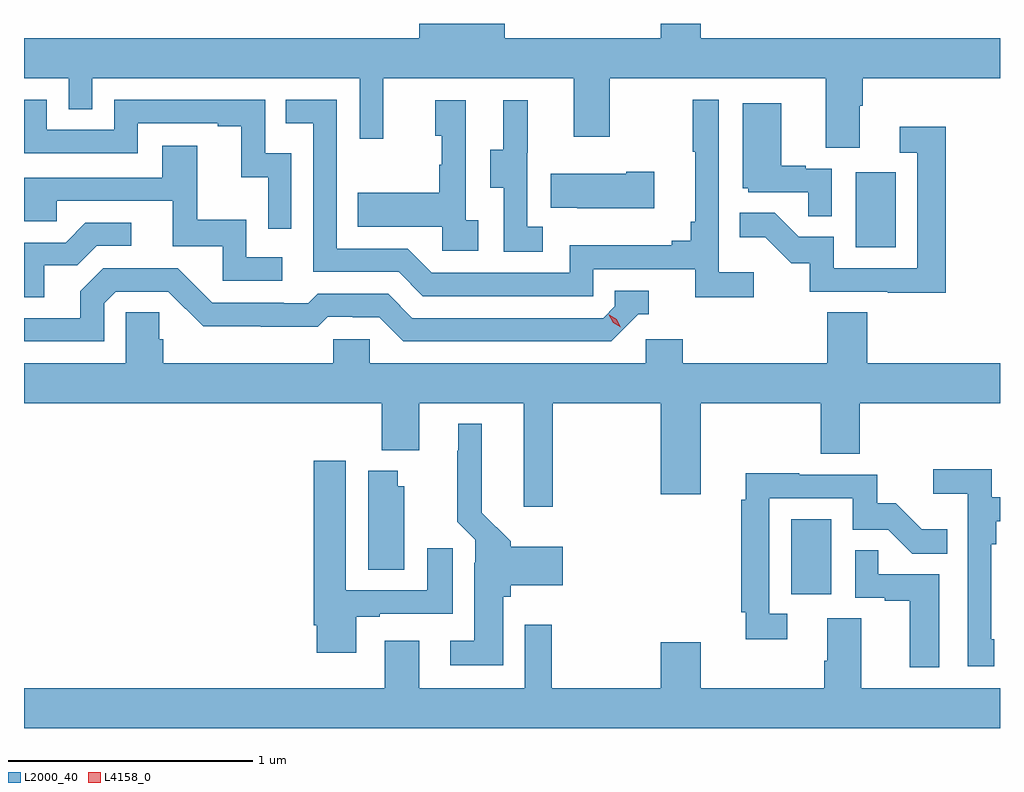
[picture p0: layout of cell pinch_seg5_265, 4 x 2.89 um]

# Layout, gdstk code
import gdstk
lib = gdstk.Library(unit=1e-6, precision=1e-09)
def R(c, l, rs):  # rectangles x0, y0, x1, y1
    for r in rs: c.add(gdstk.rectangle(r[:2], r[2:], *l))
def P(c, l, *ps):  # polygons
    for p in ps: c.add(gdstk.Polygon(p, *l))
L2000_40 = (2000, 40)
L4158_0 = (4158, 0)

pinch_seg5_265 = lib.new_cell('pinch_seg5_265')
R(pinch_seg5_265, L2000_40, [(896.81,902.598,896.974,902.905), (897.074,904.02,897.238,904.327)])
P(pinch_seg5_265, L2000_40, [(896.276,904.935),(896.276,904.876),(895.636,904.876),(895.636,904.935),(895.286,904.935),(895.286,904.876),(893.666,904.876),(893.666,904.712),(893.85,904.712),(893.85,904.585),(893.946,904.585),(893.946,904.712),(895.041,904.712),(895.041,904.464),(895.139,904.464),(895.139,904.712),(895.919,904.712),(895.919,904.473),(896.067,904.473),(896.067,904.712),(896.951,904.712),(896.951,904.426),(897.091,904.426),(897.091,904.6),(897.104,904.6),(897.104,904.712),(897.666,904.712),(897.666,904.876),(896.44,904.876),(896.44,904.935)],
  [(896.656,903.916),(896.514,903.916),(896.514,904.624),(896.406,904.624),(896.406,904.411),(896.417,904.411),(896.417,904.123),(896.398,904.123),(896.398,904.046),(896.321,904.046),(896.321,904.027),(895.902,904.027),(895.902,903.915),(895.338,903.915),(895.239,904.014),(894.948,904.014),(894.948,904.623),(894.739,904.623),(894.739,904.527),(894.852,904.527),(894.852,903.918),(895.202,903.918),(895.301,903.819),(895.998,903.819),(895.998,903.93),(896.417,903.93),(896.417,903.814),(896.656,903.814)],
  [(894.762,904.404),(894.654,904.404),(894.654,904.623),(894.036,904.623),(894.036,904.5),(893.76,904.5),(893.76,904.623),(893.666,904.623),(893.666,904.404),(894.132,904.404),(894.132,904.527),(894.461,904.527),(894.461,904.515),(894.557,904.515),(894.557,904.307),(894.666,904.307),(894.666,904.095),(894.762,904.095)],
  [(895.528,904.13),(895.476,904.13),(895.476,904.621),(895.352,904.621),(895.352,904.476),(895.378,904.476),(895.378,904.358),(895.368,904.358),(895.368,904.243),(895.033,904.243),(895.033,904.103),(895.38,904.103),(895.38,904.005),(895.528,904.005)],
  [(895.792,904.103),(895.728,904.103),(895.728,904.407),(895.73,904.407),(895.73,904.621),(895.631,904.621),(895.631,904.419),(895.577,904.419),(895.577,904.264),(895.632,904.264),(895.632,904),(895.792,904)],
  [(896.976,904.341),(896.87,904.341),(896.87,904.354),(896.77,904.354),(896.77,904.609),(896.612,904.609),(896.612,904.26),(896.634,904.26),(896.634,904.245),(896.881,904.245),(896.881,904.147),(896.976,904.147)],
  [(897.443,904.513),(897.255,904.513),(897.255,904.407),(897.327,904.407),(897.327,903.933),(896.985,903.933),(896.985,904.062),(896.841,904.062),(896.743,904.16),(896.599,904.16),(896.599,904.061),(896.703,904.061),(896.81,903.954),(896.887,903.954),(896.887,903.837),(897.205,903.837),(897.205,903.832),(897.443,903.832)],
  [(894.724,903.978),(894.576,903.978),(894.576,904.132),(894.377,904.132),(894.377,904.435),(894.233,904.435),(894.233,904.305),(893.666,904.305),(893.666,904.125),(893.801,904.125),(893.801,904.209),(894.275,904.209),(894.275,904.023),(894.48,904.023),(894.48,903.882),(894.724,903.882)],
  [(896.248,904.329),(896.135,904.329),(896.135,904.321),(895.825,904.321),(895.825,904.181),(895.933,904.181),(895.933,904.178),(896.248,904.178)],
  [(893.749,903.946),(893.884,903.946),(893.964,904.026),(894.106,904.026),(894.106,904.119),(893.918,904.119),(893.837,904.038),(893.666,904.038),(893.666,903.814),(893.749,903.814)],
  [(893.994,903.789),(894.042,903.837),(894.258,903.837),(894.4,903.695),(894.636,903.695),(894.636,903.693),(894.869,903.693),(894.911,903.735),(895.014,903.735),(895.014,903.732),(895.121,903.732),(895.22,903.633),(896.073,903.633),(896.184,903.744),(896.227,903.744),(896.227,903.84),(896.088,903.84),(896.088,903.777),(896.04,903.729),(895.257,903.729),(895.158,903.828),(894.869,903.828),(894.83,903.789),(894.731,903.789),(894.731,903.792),(894.438,903.792),(894.297,903.933),(893.991,903.933),(893.897,903.839),(893.897,903.729),(893.666,903.729),(893.666,903.633),(893.994,903.633)],
  [(895.833,903.38),(896.276,903.38),(896.276,903.006),(896.44,903.006),(896.44,903.38),(896.932,903.38),(896.932,903.172),(897.092,903.172),(897.092,903.38),(897.666,903.38),(897.666,903.544),(897.122,903.544),(897.122,903.752),(896.957,903.752),(896.957,903.544),(896.366,903.544),(896.366,903.642),(896.214,903.642),(896.214,903.544),(895.083,903.544),(895.083,903.642),(894.933,903.642),(894.933,903.544),(894.236,903.544),(894.236,903.642),(894.221,903.642),(894.221,903.752),(894.084,903.752),(894.084,903.544),(893.666,903.544),(893.666,903.38),(895.133,903.38),(895.133,903.188),(895.285,903.188),(895.285,903.38),(895.715,903.38),(895.715,902.955),(895.833,902.955)],
  [(895.63,902.586),(895.661,902.586),(895.661,902.633),(895.873,902.633),(895.873,902.791),(895.661,902.791),(895.661,902.814),(895.543,902.932),(895.543,903.295),(895.445,903.295),(895.445,903.185),(895.441,903.185),(895.441,902.894),(895.515,902.82),(895.515,902.726),(895.511,902.726),(895.511,902.407),(895.413,902.407),(895.413,902.306),(895.63,902.306)],
  [(895.027,902.505),(895.123,902.505),(895.123,902.517),(895.423,902.517),(895.423,902.785),(895.319,902.785),(895.319,902.613),(894.985,902.613),(894.985,903.145),(894.854,903.145),(894.854,902.47),(894.866,902.47),(894.866,902.358),(895.027,902.358)],
  [(897.643,902.413),(897.63,902.413),(897.63,902.801),(897.65,902.801),(897.65,902.897),(897.666,902.897),(897.666,902.994),(897.632,902.994),(897.632,903.11),(897.393,903.11),(897.393,903.008),(897.534,903.008),(897.534,902.301),(897.643,902.301)],
  [(895.225,903.039),(895.198,903.039),(895.198,903.103),(895.076,903.103),(895.076,902.698),(895.225,902.698)],
  [(896.794,902.517),(896.721,902.517),(896.721,902.991),(897.063,902.991),(897.063,902.862),(897.208,902.862),(897.306,902.764),(897.449,902.764),(897.449,902.863),(897.345,902.863),(897.238,902.97),(897.162,902.97),(897.162,903.087),(896.843,903.087),(896.843,903.092),(896.624,903.092),(896.624,902.984),(896.605,902.984),(896.605,902.524),(896.624,902.524),(896.624,902.412),(896.794,902.412)],
  [(897.418,902.679),(897.167,902.679),(897.167,902.777),(897.072,902.777),(897.072,902.583),(897.193,902.583),(897.193,902.571),(897.296,902.571),(897.296,902.297),(897.418,902.297)],
  [(897.666,902.212),(897.097,902.212),(897.097,902.498),(896.957,902.498),(896.957,902.324),(896.945,902.324),(896.945,902.212),(896.44,902.212),(896.44,902.401),(896.276,902.401),(896.276,902.212),(895.828,902.212),(895.828,902.473),(895.719,902.473),(895.719,902.212),(895.285,902.212),(895.285,902.407),(895.145,902.407),(895.145,902.212),(893.666,902.212),(893.666,902.048),(897.666,902.048)])
P(pinch_seg5_265, L4158_0, [(896.112,903.691),(896.08,903.71),(896.063,903.742),(896.063,903.743),(896.064,903.743),(896.095,903.724),(896.112,903.692),(896.112,903.691)])

lib.write_gds('pinch_seg5_265.gds')
